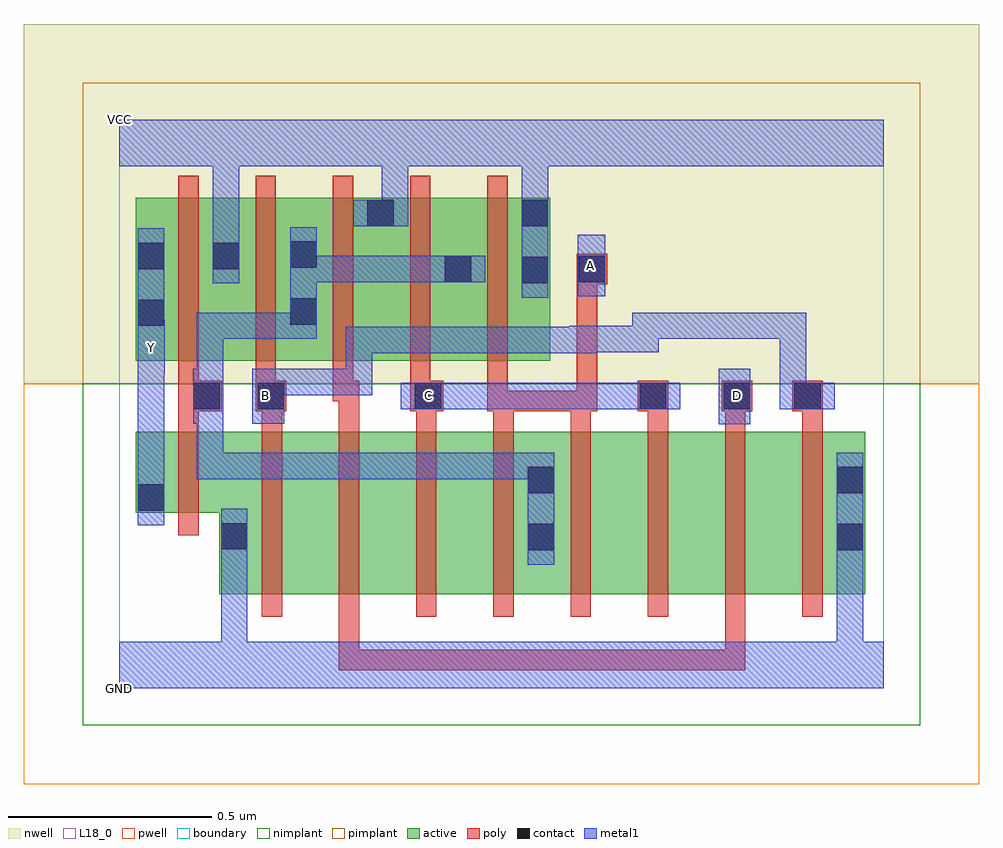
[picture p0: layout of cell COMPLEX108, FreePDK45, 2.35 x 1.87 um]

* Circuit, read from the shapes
.subckt COMPLEX108 A B C D GND VCC Y
M1 GND n1 Y VSUBS nfet w=0.2u l=0.05u
M2 n2 B GND VSUBS nfet w=0.4u l=0.05u
M3 n3 D n2 VSUBS nfet w=0.4u l=0.05u
M4 n4 C n3 VSUBS nfet w=0.4u l=0.05u
M5 n1 A n4 VSUBS nfet w=0.4u l=0.05u
M6 n5 A n1 VSUBS nfet w=0.4u l=0.05u
M7 n6 C n5 VSUBS nfet w=0.4u l=0.05u
M8 n7 D n6 VSUBS nfet w=0.4u l=0.05u
M9 GND B n7 VSUBS nfet w=0.4u l=0.05u
M10 VCC n1 Y n8 pfet w=0.4u l=0.05u
M11 n1 B VCC n8 pfet w=0.4u l=0.05u
M12 VCC D n1 n8 pfet w=0.4u l=0.05u
M13 n1 C VCC n8 pfet w=0.4u l=0.05u
M14 VCC A n1 n8 pfet w=0.4u l=0.05u
.ends

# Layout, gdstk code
import gdstk
lib = gdstk.Library(unit=1e-6, precision=1e-09)
def R(c, l, rs):  # rectangles x0, y0, x1, y1
    for r in rs: c.add(gdstk.rectangle(r[:2], r[2:], *l))
def A(c, l, x, y, w, h, nx, ny, dx, dy):  # array of equal rectangles
    R(c, l, [(x+i*dx, y+j*dy, x+i*dx+w, y+j*dy+h) for i in range(nx) for j in range(ny)])
active = (1, 0)
pwell = (2, 0)
nwell = (3, 0)
nimplant = (4, 0)
pimplant = (5, 0)
poly = (9, 0)
contact = (10, 0)
metal1 = (11, 0)
L18_0 = (18, 0)
boundary = (235, 0)

complex108 = lib.new_cell('COMPLEX108')
A(complex108, active, 0.225, 0.807, 0.265, 0.4, 4, 1, 0.19, 0)
R(complex108, active, [(0.245,0.232,0.47,0.632), (0.245,0.232,0.32,0.597), (0.47,0.232,0.66,0.632), (0.66,0.232,0.85,0.632), (0.85,0.232,1.075,0.632), (1,0.232,1.075,0.632), (1,0.232,1.23,0.632), (1.23,0.232,1.42,0.632), (1.42,0.232,1.61,0.632), (1.61,0.232,1.835,0.632), (1.76,0.232,1.835,0.632), (0.04,0.432,0.32,0.632), (0.04,0.432,0.115,0.632), (0.04,0.807,0.3,1.207), (0.04,0.807,0.115,1.2), (0.985,0.807,1.06,1.207), (0.415,0.89,0.49,1.2), (0.225,0.907,0.3,1.205), (0.605,0.907,0.68,1.207), (0.795,0.907,0.87,1.2)])
R(complex108, pwell, [(-0.235,-0.235,2.115,0.75)])
R(complex108, nwell, [(-0.235,0.75,2.115,1.635)])
R(complex108, nimplant, [(-0.09,-0.09,1.97,0.75)])
R(complex108, pimplant, [(-0.09,0.75,1.97,1.49)])
A(complex108, poly, 0.35, 0.177, 0.05, 0.51, 8, 1, 0.19, 0)
A(complex108, poly, 0.73, 0.637, 0.05, 0.095, 6, 1, 0.19, 0)
A(complex108, poly, 0.145, 0.707, 0.05, 0.095, 4, 1, 0.19, 0)
A(complex108, poly, 0.145, 0.752, 0.05, 0.51, 5, 1, 0.19, 0)
R(complex108, poly, [(0.54,0.045,0.59,0.227), (0.54,0.045,0.59,0.095), (0.54,0.045,0.59,0.095), (0.54,0.045,0.59,0.095), (0.54,0.045,0.722,0.095), (0.672,0.045,0.722,0.095), (0.672,0.045,0.722,0.095), (0.672,0.045,0.722,0.095), (0.672,0.045,0.855,0.095), (0.805,0.045,0.855,0.095), (0.805,0.045,1.192,0.095), (1.142,0.045,1.192,0.095), (1.142,0.045,1.192,0.095), (1.142,0.045,1.192,0.095), (1.142,0.045,1.325,0.095), (1.275,0.045,1.325,0.095), (1.275,0.045,1.325,0.095), (1.275,0.045,1.325,0.095), (1.275,0.045,1.54,0.095), (1.49,0.045,1.54,0.227), (1.49,0.045,1.54,0.095), (1.49,0.045,1.54,0.095), (1.49,0.045,1.54,0.095), (0.145,0.377,0.195,0.687), (0.145,0.637,0.195,0.732), (0.35,0.637,0.4,0.732), (0.54,0.637,0.59,0.757), (0.145,0.682,0.252,0.757), (0.335,0.682,0.41,0.757), (0.715,0.682,0.797,0.757), (0.905,0.682,0.97,0.732), (0.905,0.682,0.955,0.802), (0.92,0.682,0.97,0.732), (0.92,0.682,0.97,0.732), (0.92,0.682,1.16,0.732), (1.11,0.682,1.175,0.732), (1.125,0.682,1.175,0.732), (1.125,0.682,1.175,0.732), (1.125,0.682,1.175,1.045), (1.275,0.682,1.35,0.757), (1.482,0.682,1.557,0.757), (1.655,0.682,1.73,0.757), (0.525,0.707,0.59,0.757), (1.125,0.995,1.2,1.07)])
R(complex108, contact, [(1.005,0.34,1.07,0.405), (1.765,0.34,1.83,0.405), (0.25,0.342,0.315,0.407), (0.045,0.437,0.11,0.502), (1.005,0.48,1.07,0.545), (1.765,0.48,1.83,0.545), (0.182,0.687,0.247,0.752), (0.34,0.687,0.405,0.752), (0.727,0.687,0.792,0.752), (1.28,0.687,1.345,0.752), (1.487,0.687,1.552,0.752), (1.66,0.687,1.725,0.752), (0.045,0.892,0.11,0.957), (0.42,0.895,0.485,0.96), (0.99,0.997,1.055,1.062), (0.8,1,0.865,1.065), (1.13,1,1.195,1.065), (0.045,1.032,0.11,1.097), (0.23,1.032,0.295,1.097), (0.42,1.035,0.485,1.1), (0.61,1.137,0.675,1.202), (0.99,1.137,1.055,1.202)])
R(complex108, metal1, [(0,0,1.88,0.115), (0.25,0.05,0.315,0.115), (0.25,0.05,0.315,0.115), (0.25,0.05,0.315,0.372), (1.765,0.05,1.83,0.37), (1.005,0.305,1.07,0.58), (1.765,0.305,1.83,0.37), (1.765,0.305,1.83,0.37), (1.765,0.305,1.83,0.58), (0.25,0.307,0.315,0.442), (0.045,0.402,0.11,0.537), (0.045,0.472,0.11,0.837), (0.19,0.515,0.255,0.58), (0.19,0.515,0.482,0.58), (0.19,0.515,0.255,0.717), (0.417,0.515,0.482,0.58), (0.417,0.515,0.482,0.58), (0.417,0.515,0.482,0.58), (0.417,0.515,0.62,0.58), (0.555,0.515,0.62,0.58), (0.555,0.515,0.622,0.58), (0.557,0.515,0.622,0.58), (0.557,0.515,0.827,0.58), (0.762,0.515,0.827,0.58), (0.762,0.515,0.827,0.58), (0.762,0.515,0.827,0.58), (0.762,0.515,0.967,0.58), (0.902,0.515,0.967,0.58), (0.902,0.515,1.07,0.58), (1.475,0.65,1.552,0.787), (0.182,0.652,0.247,0.787), (0.182,0.652,0.255,0.717), (0.19,0.652,0.255,0.717), (0.19,0.652,0.255,0.925), (0.327,0.652,0.405,0.787), (0.692,0.687,0.827,0.752), (0.762,0.687,0.827,0.752), (0.762,0.687,0.827,0.752), (0.762,0.687,1.035,0.752), (0.97,0.687,1.035,0.752), (0.97,0.687,1.035,0.752), (0.97,0.687,1.035,0.752), (0.97,0.687,1.172,0.752), (1.107,0.687,1.172,0.752), (1.107,0.687,1.31,0.752), (1.245,0.687,1.31,0.752), (1.245,0.687,1.31,0.752), (1.245,0.687,1.38,0.752), (1.625,0.687,1.69,0.752), (1.625,0.687,1.69,0.752), (1.625,0.687,1.76,0.752), (1.625,0.687,1.69,0.925), (0.34,0.722,0.405,0.787), (0.34,0.722,0.405,0.787), (0.34,0.722,0.62,0.787), (0.555,0.722,0.62,0.787), (0.555,0.722,0.622,0.787), (0.557,0.722,0.622,0.787), (0.557,0.722,0.622,0.89), (0.045,0.772,0.112,0.907), (0.557,0.825,0.622,0.89), (0.557,0.825,0.83,0.89), (0.765,0.825,0.83,0.89), (0.765,0.825,0.83,0.89), (0.765,0.825,0.83,0.89), (0.765,0.825,0.967,0.89), (0.902,0.825,0.967,0.89), (0.902,0.825,0.967,0.89), (0.902,0.825,0.967,0.89), (0.902,0.825,1.172,0.89), (1.107,0.825,1.172,0.89), (1.107,0.825,1.172,0.89), (1.107,0.825,1.172,0.892), (1.107,0.827,1.327,0.892), (1.262,0.827,1.327,0.925), (0.045,0.842,0.11,0.922), (0.045,0.857,0.11,1.132), (0.19,0.86,0.255,0.925), (0.19,0.86,0.482,0.925), (0.417,0.86,0.482,0.925), (0.417,0.86,0.485,0.925), (0.42,0.86,0.485,1.135), (1.262,0.86,1.465,0.925), (1.4,0.86,1.465,0.925), (1.4,0.86,1.465,0.925), (1.4,0.86,1.465,0.925), (1.4,0.86,1.69,0.925), (1.625,0.86,1.69,0.925), (0.99,0.962,1.055,1.237), (1.127,0.965,1.195,1.117), (0.23,0.997,0.295,1.132), (0.42,1,0.485,1.065), (0.42,1,0.62,1.065), (0.42,1,0.485,1.135), (0.555,1,0.62,1.065), (0.555,1,0.69,1.065), (0.625,1,0.69,1.065), (0.625,1,0.83,1.065), (0.765,1,0.83,1.065), (0.765,1,0.83,1.065), (0.765,1,0.9,1.065), (0.23,1.067,0.295,1.35), (0.575,1.137,0.71,1.202), (0.645,1.137,0.71,1.35), (0.99,1.172,1.055,1.35), (0,1.285,1.88,1.4)])
R(complex108, L18_0, [(0,0,1.88,0.115), (0.25,0.05,0.315,0.115), (0.25,0.05,0.315,0.115), (0.25,0.05,0.315,0.372), (1.765,0.05,1.83,0.37), (1.765,0.305,1.83,0.58), (1.765,0.305,1.83,0.37), (1.765,0.305,1.83,0.37), (0.25,0.307,0.315,0.442), (0.045,0.402,0.11,0.537), (0.045,0.472,0.11,0.837), (1.475,0.65,1.552,0.787), (0.327,0.652,0.405,0.787), (0.327,0.687,0.392,0.752), (0.692,0.687,0.827,0.752), (0.727,0.687,0.792,0.752), (0.762,0.687,0.827,0.752), (0.762,0.687,0.827,0.752), (0.762,0.687,1.035,0.752), (0.97,0.687,1.035,0.752), (0.97,0.687,1.035,0.752), (0.97,0.687,1.035,0.752), (0.97,0.687,1.172,0.752), (1.107,0.687,1.172,0.752), (1.107,0.687,1.31,0.752), (1.245,0.687,1.31,0.752), (1.245,0.687,1.31,0.752), (1.245,0.687,1.38,0.752), (1.487,0.687,1.552,0.752), (1.625,0.687,1.69,0.752), (1.625,0.687,1.69,0.752), (1.625,0.687,1.76,0.752), (1.625,0.687,1.69,0.925), (0.34,0.722,0.405,0.787), (0.34,0.722,0.405,0.787), (0.34,0.722,0.62,0.787), (0.555,0.722,0.62,0.787), (0.555,0.722,0.622,0.787), (0.557,0.722,0.622,0.787), (0.557,0.722,0.622,0.89), (0.045,0.772,0.112,0.907), (0.047,0.807,0.112,0.872), (0.557,0.825,0.622,0.89), (0.557,0.825,0.83,0.89), (0.765,0.825,0.83,0.89), (0.765,0.825,0.83,0.89), (0.765,0.825,0.83,0.89), (0.765,0.825,0.967,0.89), (0.902,0.825,0.967,0.89), (0.902,0.825,0.967,0.89), (0.902,0.825,0.967,0.89), (0.902,0.825,1.172,0.89), (1.107,0.825,1.172,0.89), (1.107,0.825,1.172,0.89), (1.107,0.825,1.172,0.892), (1.107,0.827,1.327,0.892), (1.262,0.827,1.327,0.925), (0.045,0.842,0.11,0.922), (0.045,0.857,0.11,1.132), (1.262,0.86,1.465,0.925), (1.4,0.86,1.465,0.925), (1.4,0.86,1.465,0.925), (1.4,0.86,1.465,0.925), (1.4,0.86,1.69,0.925), (1.625,0.86,1.69,0.925), (0.99,0.962,1.055,1.237), (1.127,0.965,1.195,1.117), (0.23,0.997,0.295,1.132), (1.127,1.007,1.192,1.072), (0.23,1.067,0.295,1.35), (0.575,1.137,0.71,1.202), (0.645,1.137,0.71,1.35), (0.99,1.172,1.055,1.35), (0,1.285,1.88,1.4)])
R(complex108, boundary, [(0,0,1.88,1.4)])
complex108.add(gdstk.Label('A', (1.16,1.04), layer=11, texttype=0))
complex108.add(gdstk.Label('B', (0.36,0.72), layer=11, texttype=0))
complex108.add(gdstk.Label('C', (0.76,0.72), layer=11, texttype=0))
complex108.add(gdstk.Label('D', (1.52,0.72), layer=11, texttype=0))
complex108.add(gdstk.Label('Y', (0.08,0.84), layer=11, texttype=0))
complex108.add(gdstk.Label('VCC', (0,1.4), layer=11, texttype=0))
complex108.add(gdstk.Label('GND', (0,0), layer=11, texttype=0))

lib.write_gds('COMPLEX108.gds')
